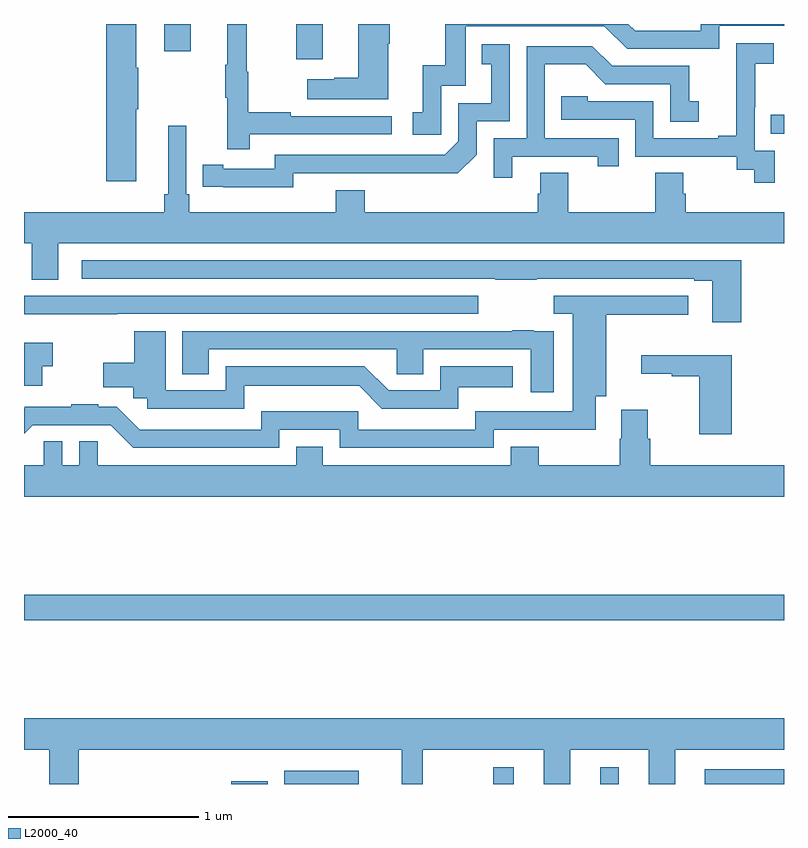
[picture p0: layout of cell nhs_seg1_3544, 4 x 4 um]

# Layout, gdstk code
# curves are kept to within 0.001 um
import gdstk
lib = gdstk.Library(unit=1e-6, precision=1e-09)
def R(c, l, rs):  # rectangles x0, y0, x1, y1
    for r in rs: c.add(gdstk.rectangle(r[:2], r[2:], *l))
def P(c, l, *ps):  # polygons
    for p in ps: c.add(gdstk.Polygon(p, *l))
L2000_40 = (2000, 40)

nhs_seg1_3544 = lib.new_cell('nhs_seg1_3544')
R(nhs_seg1_3544, L2000_40, [(304.09,570.199,304.284,570.214), (304.369,570.199,304.762,570.268), (305.469,570.199,305.578,570.286), (306.032,570.199,306.13,570.286), (306.584,570.199,307,570.276), (303,571.06,307,571.196), (306.931,573.621,307,573.722), (304.433,574.014,304.573,574.199), (303.737,574.056,303.877,574.199)])
P(nhs_seg1_3544, L2000_40, [(304.918,574.094),(304.926,574.094),(304.926,574.199),(304.76,574.199),(304.76,573.917),(304.634,573.917),(304.634,573.907),(304.491,573.907),(304.491,573.803),(304.918,573.803)],
  [(303.592,573.751),(303.6,573.751),(303.6,573.968),(303.592,573.968),(303.592,574.199),(303.434,574.199),(303.434,573.372),(303.592,573.372)],
  [(305.196,573.873),(305.325,573.873),(305.325,574.188),(306.054,574.188),(306.174,574.068),(306.66,574.068),(306.66,574.191),(307,574.191),(307,574.199),(306.563,574.199),(306.563,574.164),(306.216,574.164),(306.181,574.199),(305.217,574.199),(305.217,573.982),(305.099,573.982),(305.099,573.735),(305.046,573.735),(305.046,573.615),(305.196,573.615)],
  [(304.187,573.618),(304.936,573.618),(304.936,573.714),(304.403,573.714),(304.403,573.734),(304.18,573.734),(304.18,573.948),(304.172,573.948),(304.172,574.198),(304.07,574.198),(304.07,573.985),(304.059,573.985),(304.059,573.811),(304.07,573.811),(304.07,573.54),(304.187,573.54)],
  [(306.951,573.531),(306.846,573.531),(306.846,573.761),(306.848,573.761),(306.848,573.989),(306.946,573.989),(306.946,574.099),(306.748,574.099),(306.748,573.893),(306.749,573.893),(306.749,573.61),(306.653,573.61),(306.653,573.597),(306.312,573.597),(306.312,573.792),(305.967,573.792),(305.967,573.819),(305.827,573.819),(305.827,573.696),(306.216,573.696),(306.216,573.501),(306.75,573.501),(306.75,573.433),(306.843,573.433),(306.843,573.363),(306.951,573.363)],
  [(304.416,573.414),(305.284,573.413),(305.382,573.51),(305.382,573.687),(305.556,573.687),(305.556,574.093),(305.41,574.093),(305.41,573.987),(305.459,573.987),(305.459,573.783),(305.286,573.783),(305.286,573.582),(305.214,573.51),(304.32,573.51),(304.32,573.438),(304.048,573.438),(304.048,573.458),(303.94,573.458),(303.94,573.342),(304.416,573.341)],
  [(305.569,573.501),(306.02,573.501),(306.02,573.45),(306.131,573.45),(306.131,573.597),(305.742,573.597),(305.742,573.986),(305.956,573.986),(306.06,573.882),(306.402,573.882),(306.402,573.684),(306.55,573.684),(306.55,573.793),(306.501,573.793),(306.501,573.978),(306.097,573.978),(305.992,574.083),(305.646,574.083),(305.646,573.597),(305.472,573.597),(305.472,573.39),(305.569,573.39)],
  [(303.181,573.044),(307,573.044),(307,573.208),(306.482,573.208),(306.482,573.306),(306.469,573.306),(306.469,573.416),(306.322,573.416),(306.322,573.208),(305.865,573.208),(305.865,573.416),(305.717,573.416),(305.717,573.306),(305.705,573.306),(305.705,573.208),(304.793,573.208),(304.793,573.325),(304.64,573.325),(304.64,573.208),(303.869,573.208),(303.869,573.304),(303.855,573.304),(303.855,573.664),(303.758,573.664),(303.758,573.304),(303.739,573.304),(303.739,573.208),(303,573.208),(303,573.044),(303.041,573.044),(303.041,572.854),(303.181,572.854)],
  [(306.776,572.955),(303.303,572.955),(303.303,572.859),(305.479,572.859),(305.479,572.854),(305.699,572.854),(305.699,572.859),(306.527,572.859),(306.527,572.847),(306.623,572.847),(306.623,572.628),(306.776,572.628)],
  [(304.344,572.064),(304.662,572.064),(304.662,571.968),(305.472,571.968),(305.472,572.064),(306.01,572.063),(306.01,572.24),(306.064,572.24),(306.064,572.669),(306.496,572.669),(306.496,572.77),(305.787,572.769),(305.787,572.673),(305.888,572.673),(305.888,572.16),(305.376,572.16),(305.376,572.064),(304.758,572.064),(304.758,572.161),(304.248,572.161),(304.248,572.064),(303.609,572.064),(303.489,572.184),(303.392,572.184),(303.392,572.197),(303.248,572.197),(303.248,572.184),(303.005,572.184),(303,572.179),(303,572.043),(303.045,572.088),(303.456,572.088),(303.576,571.968),(304.344,571.968)],
  [(303.491,572.673),(305.392,572.673),(305.392,572.769),(303,572.769),(303,572.672),(303.238,572.672),(303.238,572.671),(303.491,572.671)],
  [(305.788,572.583),(305.684,572.583),(305.684,572.588),(305.57,572.588),(305.57,572.583),(303.833,572.583),(303.833,572.356),(303.973,572.356),(303.973,572.487),(304.962,572.487),(304.962,572.356),(305.101,572.356),(305.101,572.487),(305.666,572.487),(305.666,572.262),(305.788,572.262)],
  [(304.158,572.294),(304.764,572.295),(304.884,572.175),(305.286,572.175),(305.286,572.288),(305.572,572.288),(305.572,572.398),(305.19,572.398),(305.19,572.271),(304.919,572.271),(304.792,572.398),(304.062,572.398),(304.062,572.271),(303.745,572.271),(303.745,572.581),(303.58,572.581),(303.58,572.416),(303.417,572.416),(303.417,572.288),(303.576,572.288),(303.576,572.229),(303.648,572.229),(303.648,572.175),(304.158,572.175)],
  [(303.095,572.399),(303.151,572.399),(303.151,572.521),(303,572.521),(303,572.295),(303.095,572.295)],
  [(306.725,572.456),(306.249,572.456),(306.249,572.357),(306.41,572.357),(306.41,572.346),(306.554,572.346),(306.554,572.04),(306.725,572.04)],
  [(307,571.876),(306.296,571.876),(306.296,572.015),(306.283,572.015),(306.283,572.17),(306.143,572.17),(306.143,572.015),(306.136,572.015),(306.136,571.876),(305.709,571.876),(305.709,571.975),(305.561,571.975),(305.561,571.876),(304.573,571.876),(304.573,571.975),(304.433,571.975),(304.433,571.876),(303.387,571.876),(303.387,572.003),(303.291,572.003),(303.291,571.876),(303.201,571.876),(303.201,572.003),(303.105,572.003),(303.105,571.876),(303,571.876),(303,571.712),(307,571.712)],
  [(303.287,570.38),(304.987,570.38),(304.987,570.199),(305.098,570.199),(305.098,570.38),(305.735,570.38),(305.735,570.199),(305.875,570.199),(305.875,570.38),(306.287,570.38),(306.287,570.199),(306.427,570.199),(306.427,570.38),(307,570.38),(307,570.544),(303,570.544),(303,570.38),(303.134,570.38),(303.134,570.199),(303.287,570.199)])

lib.write_gds('nhs_seg1_3544.gds')
